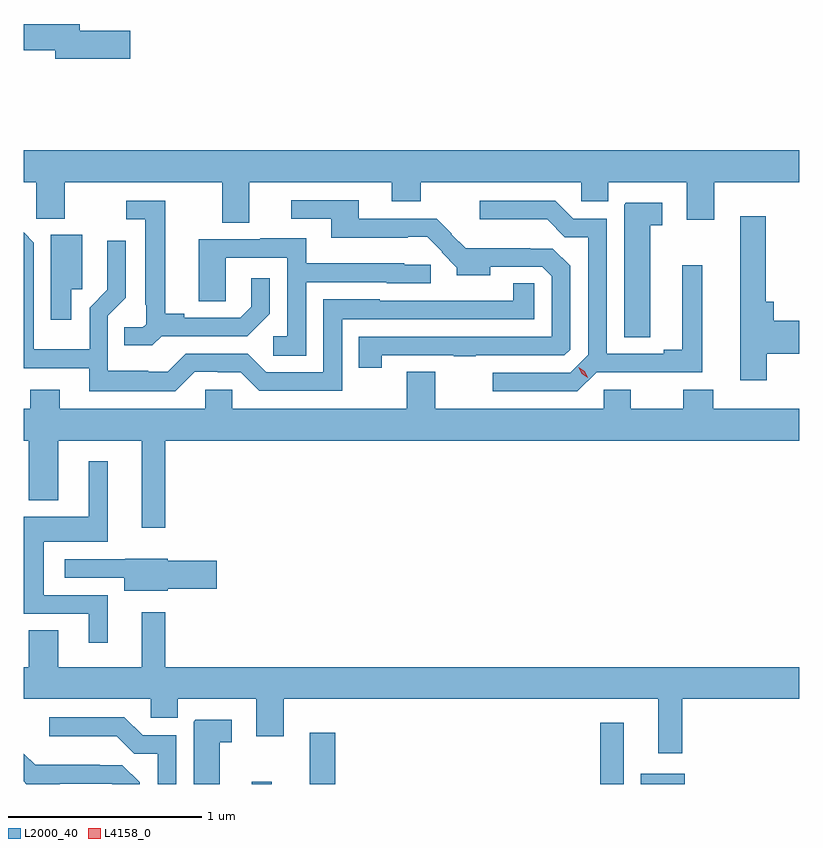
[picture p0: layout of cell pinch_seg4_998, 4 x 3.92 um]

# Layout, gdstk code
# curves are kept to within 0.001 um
import gdstk
lib = gdstk.Library(unit=1e-6, precision=1e-09)
def R(c, l, rs):  # rectangles x0, y0, x1, y1
    for r in rs: c.add(gdstk.rectangle(r[:2], r[2:], *l))
def P(c, l, *ps):  # polygons
    for p in ps: c.add(gdstk.Polygon(p, *l))
L2000_40 = (2000, 40)
L4158_0 = (4158, 0)

pinch_seg4_998 = lib.new_cell('pinch_seg4_998')
R(pinch_seg4_998, L2000_40, [(781.964,776.401,782.068,776.413), (782.264,776.401,782.396,776.665), (783.762,776.401,783.883,776.716), (783.971,776.401,784.198,776.455)])
P(pinch_seg4_998, L2000_40, [(781.339,780.284),(781.078,780.284),(781.078,780.32),(780.788,780.32),(780.788,780.184),(780.95,780.184),(780.95,780.142),(781.339,780.142)],
  [(781.951,779.504),(782.687,779.504),(782.687,779.405),(782.835,779.405),(782.835,779.504),(783.663,779.504),(783.663,779.406),(783.802,779.406),(783.802,779.504),(784.208,779.504),(784.208,779.31),(784.348,779.31),(784.348,779.504),(784.788,779.504),(784.788,779.668),(780.788,779.668),(780.788,779.504),(780.852,779.504),(780.852,779.317),(780.999,779.317),(780.999,779.504),(781.811,779.504),(781.811,779.296),(781.951,779.296)],
  [(782.634,778.611),(783.007,778.611),(783.007,778.606),(783.119,778.606),(783.119,778.611),(783.576,778.611),(783.606,778.641),(783.606,779.073),(783.517,779.162),(783.401,779.162),(783.401,779.164),(783.067,779.164),(782.993,779.237),(782.995,779.239),(782.919,779.316),(782.515,779.316),(782.515,779.412),(782.169,779.412),(782.169,779.316),(782.375,779.316),(782.375,779.219),(782.768,779.219),(782.768,779.222),(782.87,779.222),(782.946,779.145),(782.943,779.142),(783.022,779.064),(783.022,779.024),(783.193,779.024),(783.193,779.067),(783.462,779.067),(783.51,779.019),(783.51,778.707),(782.515,778.707),(782.515,778.548),(782.634,778.548)],
  [(781.5,778.71),(781.942,778.71),(782.058,778.826),(782.058,779.008),(781.961,779.008),(781.961,778.863),(781.904,778.806),(781.615,778.806),(781.615,778.826),(781.519,778.826),(781.519,779.409),(781.317,779.409),(781.317,779.313),(781.415,779.313),(781.415,778.873),(781.419,778.873),(781.419,778.773),(781.401,778.755),(781.306,778.755),(781.306,778.663),(781.452,778.663)],
  [(783.742,778.524),(784.288,778.524),(784.288,779.077),(784.184,779.077),(784.184,778.64),(784.088,778.64),(784.088,778.62),(783.795,778.62),(783.795,779.316),(783.621,779.316),(783.528,779.409),(783.141,779.409),(783.141,779.312),(783.487,779.312),(783.578,779.221),(783.699,779.221),(783.699,778.614),(783.606,778.521),(783.207,778.521),(783.207,778.425),(783.643,778.425)],
  [(784.018,779.281),(784.081,779.281),(784.081,779.397),(783.894,779.397),(783.884,779.387),(783.884,778.705),(784.018,778.705)],
  [(784.619,778.619),(784.788,778.619),(784.788,778.79),(784.655,778.79),(784.655,778.888),(784.616,778.888),(784.616,779.329),(784.484,779.329),(784.484,778.482),(784.619,778.482)],
  [(781.671,778.527),(781.788,778.527),(781.788,778.524),(781.908,778.524),(782.004,778.428),(782.43,778.428),(782.43,778.797),(783.42,778.797),(783.42,778.982),(783.312,778.982),(783.312,778.894),(782.625,778.893),(782.625,778.9),(782.334,778.9),(782.334,778.524),(782.04,778.524),(781.944,778.62),(781.623,778.62),(781.53,778.527),(781.43,778.527),(781.43,778.531),(781.221,778.531),(781.221,778.815),(781.314,778.908),(781.314,779.203),(781.218,779.203),(781.218,779.056),(781.22,779.056),(781.22,778.95),(781.128,778.858),(781.128,778.642),(780.84,778.642),(780.84,779.193),(780.788,779.245),(780.788,778.545),(781.127,778.545),(781.127,778.427),(781.571,778.427)],
  [(781.033,778.953),(781.09,778.953),(781.09,779.232),(780.929,779.232),(780.929,778.794),(781.033,778.794)],
  [(782.244,778.989),(782.661,778.989),(782.661,778.983),(782.886,778.983),(782.886,779.079),(782.751,779.079),(782.751,779.086),(782.245,779.086),(782.245,779.215),(782.009,779.215),(782.009,779.211),(781.691,779.211),(781.691,778.891),(781.83,778.891),(781.83,779.115),(782.148,779.115),(782.148,778.71),(782.076,778.71),(782.076,778.609),(782.244,778.609)],
  [(781.519,778.172),(784.788,778.172),(784.788,778.336),(784.343,778.336),(784.343,778.435),(784.19,778.435),(784.19,778.336),(783.919,778.336),(783.919,778.434),(783.78,778.434),(783.78,778.336),(782.911,778.336),(782.911,778.526),(782.764,778.526),(782.764,778.336),(781.863,778.336),(781.863,778.434),(781.725,778.434),(781.725,778.336),(780.973,778.336),(780.973,778.435),(780.821,778.435),(780.821,778.336),(780.788,778.336),(780.788,778.172),(780.815,778.172),(780.815,777.863),(780.967,777.863),(780.967,778.172),(781.397,778.172),(781.397,777.723),(781.519,777.723)],
  [(781.222,777.375),(780.892,777.375),(780.892,777.65),(781.222,777.65),(781.222,778.066),(781.124,778.066),(781.124,777.778),(780.788,777.778),(780.788,777.279),(781.124,777.279),(781.124,777.129),(781.222,777.129)],
  [(781.53,777.409),(781.783,777.409),(781.783,777.551),(781.53,777.551),(781.53,777.562),(781.311,777.562),(781.311,777.561),(780.999,777.561),(780.999,777.465),(781.307,777.465),(781.307,777.398),(781.53,777.398)],
  [(784.183,776.84),(784.788,776.84),(784.788,777.004),(781.519,777.004),(781.519,777.286),(781.397,777.286),(781.397,777.004),(780.967,777.004),(780.967,777.194),(780.815,777.194),(780.815,777.004),(780.788,777.004),(780.788,776.84),(781.443,776.84),(781.443,776.742),(781.582,776.742),(781.582,776.84),(781.988,776.84),(781.988,776.646),(782.128,776.646),(782.128,776.84),(784.061,776.84),(784.061,776.559),(784.183,776.559)],
  [(781.575,776.652),(781.401,776.652),(781.308,776.745),(780.921,776.745),(780.921,776.648),(781.267,776.648),(781.358,776.557),(781.479,776.557),(781.479,776.401),(781.575,776.401)],
  [(781.798,776.617),(781.861,776.617),(781.861,776.733),(781.674,776.733),(781.664,776.723),(781.664,776.401),(781.798,776.401)],
  [(780.973,776.403),(781.242,776.403),(781.244,776.401),(781.386,776.401),(781.386,776.409),(781.297,776.498),(781.181,776.498),(781.181,776.5),(780.847,776.5),(780.788,776.558),(780.788,776.414),(780.801,776.401),(780.973,776.401)])
P(pinch_seg4_998, L4158_0, [(783.698,778.495),(783.667,778.516),(783.65,778.549),(783.65,778.549),(783.65,778.549),(783.682,778.529),(783.698,778.495),(783.698,778.495)])

lib.write_gds('pinch_seg4_998.gds')
